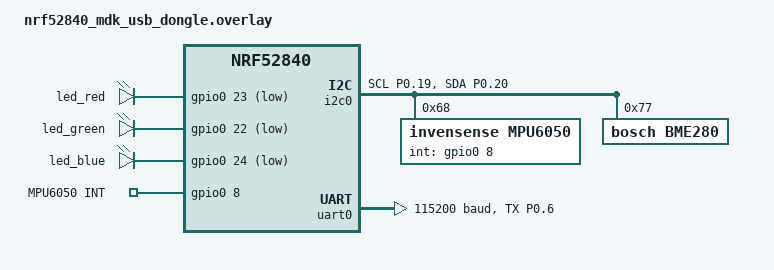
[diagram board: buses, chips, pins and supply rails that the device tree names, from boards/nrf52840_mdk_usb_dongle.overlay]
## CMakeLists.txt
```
# 1. This MUST be the first line
cmake_minimum_required(VERSION 3.20.0)

# 2. This loads the Zephyr engine. 
# HINTS $ENV{ZEPHYR_BASE} is the "safety net" for the terminal.
find_package(Zephyr REQUIRED HINTS $ENV{ZEPHYR_BASE})

# 3. This MUST come AFTER find_package
project(lima-node)

# 4. This MUST come AFTER find_package because Zephyr defines 'app'
target_sources(app PRIVATE 
    src/main.c
    src/fsm.c
    src/crypto.c
    src/ble.c
)
```

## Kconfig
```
# L.I.M.A. Firmware Configuration

source "Kconfig.zephyr"

config LIMA_MAIN_LOG_LEVEL
    int "LIMA main log level"
    default 3
    range 0 4

config LIMA_FSM_LOG_LEVEL
    int "LIMA FSM log level"
    default 3
    range 0 4

# config LIMA_LIGHT_SLEEP_HEARTBEAT_MS
#     int "Light sleep heartbeat interval (ms)"
#     default 10000

config LIMA_DEEP_SLEEP_INTERVAL_MS
    int "Deep sleep wakeup interval (ms)"
    default 45000

# config LIMA_INACTIVITY_TIMEOUT_MS
#     int "Inactivity timeout before deep sleep (ms)"
#     default 30000
#     help
#       Total time (in ms) the device remains idle (including Light Sleep intervals) 
#       before transitioning to Deep Sleep.
```

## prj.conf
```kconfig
# Core Kernel Features
CONFIG_GPIO=y

# Logging
CONFIG_SERIAL=y
CONFIG_UART_CONSOLE=y
CONFIG_PRINTK=y
CONFIG_LOG=y
CONFIG_LOG_DEFAULT_LEVEL=3
# Error     1   LOG_ERR
# Warning   2   LOG_ERR, LOG_WRN
# Info      3   LOG_ERR, LOG_WRN, LOG_INF
# Debug     4   LOG_ERR, LOG_WRN, LOG_INF, LOG_DBG
CONFIG_LOG_MODE_DEFERRED=y

# I2C
CONFIG_I2C=y
CONFIG_I2C_LOG_LEVEL_DBG=y

# Sensors
CONFIG_SENSOR=y
CONFIG_MPU6050=y
CONFIG_BME280=y
CONFIG_LIMA_BARO_THRESHOLD_PA=5
CONFIG_BME280_FILTER_OFF=y

# Stack protection / fault dumps
CONFIG_FAULT_DUMP=2
CONFIG_HW_STACK_PROTECTION=y
CONFIG_MPU_STACK_GUARD=y

# FPU for sqrt/math
CONFIG_FPU=y

# Heap and workqueue
CONFIG_HEAP_MEM_POOL_SIZE=8192
CONFIG_SYSTEM_WORKQUEUE_STACK_SIZE=8192
CONFIG_MAIN_STACK_SIZE=4096

# Power Management — PM_DEVICE only, CONFIG_PM not supported on this board
# CONFIG_PM=y
CONFIG_PM_DEVICE=y
CONFIG_LIMA_DEEP_SLEEP_INTERVAL_MS=6000

# Crypto — Oberon PSA driver (software, volatile keys for v1)
CONFIG_NRF_SECURITY=y
CONFIG_MBEDTLS_PSA_CRYPTO_C=y
CONFIG_MBEDTLS_ENABLE_HEAP=y
CONFIG_MBEDTLS_HEAP_SIZE=8192
# CONFIG_NRF_CC3XX_PLATFORM=y
CONFIG_PSA_CRYPTO_DRIVER_OBERON=y
CONFIG_PSA_WANT_GENERATE_RANDOM=y
CONFIG_PSA_WANT_ALG_CTR_DRBG=y
CONFIG_PSA_WANT_ALG_ECDSA=y
CONFIG_PSA_WANT_ALG_SHA_256=y
CONFIG_PSA_WANT_ECC_SECP_R1_256=y
CONFIG_PSA_WANT_KEY_TYPE_ECC_KEY_PAIR_GENERATE=y
CONFIG_PSA_WANT_KEY_TYPE_ECC_PUBLIC_KEY=y
# CONFIG_MBEDTLS_PSA_CRYPTO_KEY_ID_ENCODES_OWNER=n


# Bluetooth
CONFIG_BT=y
CONFIG_BT_PERIPHERAL=y
CONFIG_BT_DEVICE_NAME="LIMA_NODE_01"

# Persistent storage
CONFIG_SETTINGS=y
CONFIG_SETTINGS_NVS=y
CONFIG_NVS_LOOKUP_CACHE=y

CONFIG_FLASH=y
CONFIG_FLASH_MAP=y
CONFIG_NVS=y


# CONFIG_TRUSTED_STORAGE=y
# CONFIG_TRUSTED_STORAGE_BACKEND_FLASH=y
# CONFIG_TRUSTED_STORAGE_STORAGE_PREFIX="lima"
CONFIG_PSA_WANT_KEY_TYPE_ECC_KEY_PAIR_IMPORT=y
CONFIG_PSA_WANT_KEY_TYPE_ECC_KEY_PAIR_EXPORT=y


# PSA persistent key storage — backed by settings_storage via NVS
# CONFIG_MBEDTLS_PSA_CRYPTO_STORAGE_C=y
# CONFIG_PSA_ITS_FLASH=y

CONFIG_WATCHDOG=y
CONFIG_WDT_NRFX=y

CONFIG_SETTINGS_RUNTIME=y



# CONFIG_PSA_INTERNAL_TRUSTED_STORAGE=y
# CONFIG_TRUSTED_STORAGE_STORAGE_BACKEND_SETTINGS=y
# CONFIG_TRUSTED_STORAGE_BACKEND_AEAD=y
# CONFIG_TRUSTED_STORAGE_BACKEND_AEAD_KEY_HASH_UID=y

# used for storage backend for keys when on flash
# CONFIG_PSA_WANT_KEY_TYPE_CHACHA20=y
# CONFIG_PSA_WANT_ALG_CHACHA20_POLY1305=y

# CONFIG_PSA_CRYPTO_STORAGE_BACKEND_ITS=y


# PSA persistent key storage — Zephyr secure storage subsystem
CONFIG_SECURE_STORAGE=y

# CONFIG_TRUSTED_STORAGE=y          ← remove
# CONFIG_MBEDTLS_PSA_CRYPTO_STORAGE_C=y  ← remove (selected automatically)
# CONFIG_PSA_INTERNAL_TRUSTED_STORAGE=y  ← remove
# CONFIG_TRUSTED_STORAGE_BACKEND_AEAD=y  ← remove
# CONFIG_TRUSTED_STORAGE_BACKEND_AEAD_KEY_HASH_UID=y  ← remove
# CONFIG_TRUSTED_STORAGE_STORAGE_BACKEND_SETTINGS=y  ← remove
# CONFIG_PSA_WANT_KEY_TYPE_CHACHA20=y  ← remove
# CONFIG_PSA_WANT_ALG_CHACHA20_POLY1305=y  ← remove
```

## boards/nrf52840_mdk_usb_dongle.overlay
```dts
&i2c0 {
    status = "okay";
    pinctrl-0 = <&i2c0_default>;
    pinctrl-1 = <&i2c0_sleep>;
    pinctrl-names = "default","sleep";
    mpu6050@68 {
        compatible = "invensense,mpu6050";
        reg = <0x68>;
        int-gpios = <&gpio0 8 GPIO_ACTIVE_HIGH>;
    };
    bme280@77 {
        compatible = "bosch,bme280";
        reg = <0x77>;
    };
};

&pinctrl {
    i2c0_default: i2c0_default {
        group1 {
            psels = <NRF_PSEL(TWIM_SCL, 0, 19)>,
                    <NRF_PSEL(TWIM_SDA, 0, 20)>;
            bias-pull-up;        
        };
    };
    uart0_default: uart0_default {
        group1 {
            psels = <NRF_PSEL(UART_TX, 0, 6)>;
            bias-disable;
        };
    };
    uart0_sleep: uart0_sleep {
        group1 {
            psels = <NRF_PSEL(UART_TX, 0, 6)>;
            low-power-enable;
        };
    };
    i2c0_sleep: i2c0_sleep {
        group1 {
            psels = <NRF_PSEL(TWIM_SCL, 0, 19)>,
                    <NRF_PSEL(TWIM_SDA, 0, 20)>;
            low-power-enable;
        };
    };
};

&uart0 {
    status = "okay";
    current-speed = <115200>;
    pinctrl-0 = <&uart0_default>;
    pinctrl-1 = <&uart0_sleep>;
    pinctrl-names = "default", "sleep";
};


/ {
    leds {
        compatible = "gpio-leds";
        led_red: led_0 {
            gpios = <&gpio0 23 GPIO_ACTIVE_LOW>;
        };
        led_green: led_1 {
            gpios = <&gpio0 22 GPIO_ACTIVE_LOW>;
        };
        led_blue: led_2 {
            gpios = <&gpio0 24 GPIO_ACTIVE_LOW>;
        };
    };
    
    keys {
        compatible = "gpio-keys";
        mpu_int: mpu_int {
            gpios = <&gpio0 8 GPIO_ACTIVE_HIGH>;
            label = "MPU6050 INT";
        };
    };

    aliases {
        led0 = &led_red;
        led1 = &led_green;
        led2 = &led_blue;
        mpu-int = &mpu_int;    // ← add this
    };
};
```

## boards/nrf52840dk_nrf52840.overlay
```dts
&i2c0 {
    status = "okay";
    pinctrl-0 = <&i2c0_default>;
    pinctrl-1 = <&i2c0_sleep>;
    pinctrl-names = "default", "sleep";
    mpu6050@68 {
        compatible = "invensense,mpu6050";
        reg = <0x68>;
        int-gpios = <&gpio0 3 GPIO_ACTIVE_HIGH>;
    };
    bme280@77 {
        compatible = "bosch,bme280";
        reg = <0x77>;
    };
};

&pinctrl {
    i2c0_default: i2c0_default {
        group1 {
            psels = <NRF_PSEL(TWIM_SCL, 0, 4)>,
                    <NRF_PSEL(TWIM_SDA, 0, 5)>;
            bias-pull-up;
        };
    };
    i2c0_sleep: i2c0_sleep {
        group1 {
            psels = <NRF_PSEL(TWIM_SCL, 0, 4)>,
                    <NRF_PSEL(TWIM_SDA, 0, 5)>;
            low-power-enable;
        };
    };
    uart0_default: uart0_default {
        group1 {
            psels = <NRF_PSEL(UART_TX, 0, 6)>,
                    <NRF_PSEL(UART_RX, 0, 8)>;
            bias-disable;
        };
    };
    uart0_sleep: uart0_sleep {
        group1 {
            psels = <NRF_PSEL(UART_TX, 0, 6)>,
                    <NRF_PSEL(UART_RX, 0, 8)>;
            low-power-enable;
        };
    };
};

&uart0 {
    status = "okay";
    current-speed = <115200>;
    pinctrl-0 = <&uart0_default>;
    pinctrl-1 = <&uart0_sleep>;
    pinctrl-names = "default", "sleep";
};

/ {
    leds {
        compatible = "gpio-leds";
        led_red: led_0 {
            gpios = <&gpio0 13 GPIO_ACTIVE_LOW>;
        };
        led_green: led_1 {
            gpios = <&gpio0 14 GPIO_ACTIVE_LOW>;
        };
        led_blue: led_2 {
            gpios = <&gpio0 15 GPIO_ACTIVE_LOW>;
        };
    };
    keys {
        compatible = "gpio-keys";
        mpu_int: mpu_int {
            gpios = <&gpio0 3 GPIO_ACTIVE_HIGH>;
            label = "MPU6050 INT";
        };
    };
    aliases {
        led0 = &led_red;
        led1 = &led_green;
        led2 = &led_blue;
        mpu-int = &mpu_int;
    };
};
```

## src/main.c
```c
/*
 * ============================================================================
 * Project: L.I.M.A. (Local Integrity Multi-modal Architecture)
 * File:    main.c
 * Author:  Justin Knox
 * Date:    Feb 2026
 *
 * Description: 
 * Event-driven FSM for edge integrity monitoring. Uses a decoupled 
 * thread model to separate high-frequency sensor polling from 
 * cryptographic signing and BLE transmission states.
 *
 * Architecture:
 * ├── #includes & defines     (System & Zephyr RTOS config)
 * ├── Hardware Globals        (LEDs, MPU6050, Message Queues)
 * ├── HAL & Stubs             (I2C Recovery, IMU Read, Crypto/BLE stubs)
 * ├── FSM Engine              (State transitions & Entry/Exit logic)
 * ├── fsm_dispatch()          (Event-to-State routing)
 * ├── Thread Functions        (sensor_thread_fn, fsm_thread_fn)
 * ├── K_THREAD_DEFINE x2      (Static thread allocation)
 * └── main()                  (Hardware init & Thread resumption)
 * ============================================================================
 */

#include <zephyr/kernel.h>
#include <zephyr/kernel/thread.h>
#include <zephyr/drivers/gpio.h>
#include <zephyr/drivers/sensor.h>
#include <zephyr/logging/log.h>
#include <zephyr/drivers/watchdog.h>
#include <zephyr/bluetooth/bluetooth.h>
#include <zephyr/settings/settings.h>
#include "ble.h"
#include <math.h>
#include "events.h"
#include "fsm.h"
#include "crypto.h"

LOG_MODULE_REGISTER(lima_main, LOG_LEVEL_INF);

// #define I2C0_SCL_PIN 19
// #define I2C0_SDA_PIN 20
#define I2C0_SCL_PIN 04
#define I2C0_SDA_PIN 05

/* ── Board definitions ───────────────────────────────────────────────────── */

#define LED_R_NODE DT_ALIAS(led0)
#define LED_G_NODE DT_ALIAS(led1)
#define LED_B_NODE DT_ALIAS(led2)

/* ── Configuration ───────────────────────────────────────────────────────── */

#define FSM_MSGQ_DEPTH          16
#define FSM_THREAD_PRIORITY     5
#define SENSOR_THREAD_PRIORITY  6
#define POLL_INTERVAL_MS        60      /* 16.67 Hz — matches your working blinky */
#define COOLDOWN_MS_DEFAULT     5000    /* 5s default; tune per deployment         */
#define MOTION_THRESHOLD_G      0.80     /* 1.1 good for table top     */
#define FSM_STACK_SIZE          8192  // Double it again
#define SENSOR_STACK_SIZE       4096  // Double it again



/* ── Hardware globals ────────────────────────────────────────────────────── */

static const struct gpio_dt_spec led_r = GPIO_DT_SPEC_GET(LED_R_NODE, gpios);
static const struct gpio_dt_spec led_g = GPIO_DT_SPEC_GET(LED_G_NODE, gpios);
static const struct gpio_dt_spec led_b = GPIO_DT_SPEC_GET(LED_B_NODE, gpios);

/* motion sensor */
static const struct device *mpu;
static struct sensor_value accel[3];

/* baro sensor */
static const struct device *bme;
static struct sensor_value baro_press;
static float baro_baseline_hpa = 0.0f;

/* Sleep LED state */
static struct k_work_delayable sleep_led_work;
static uint8_t sleep_led_on = 0;
static uint32_t sleep_led_interval_ms = 0;
static uint8_t sleep_led_white = 0;  /* 1 = white pulse (deep), 0 = red+blue (light) */

/* RTC wakeup stub  */
static struct k_work_delayable rtc_wakeup_work;

/* I2C prototype */
static void hw_i2c_bus_recovery(void);

/* onboard watchdog disable */
const struct device *wdt = DEVICE_DT_GET(DT_NODELABEL(wdt0));


/* ── Message queue ───────────────────────────────────────────────────────── */

K_MSGQ_DEFINE(fsm_msgq, sizeof(lima_event_t), FSM_MSGQ_DEPTH, 4);

int lima_post_event(const lima_event_t *evt)
{
    return k_msgq_put(&fsm_msgq, evt, K_NO_WAIT);
}

/* Non-blocking timer for cooldown */
// static struct k_work_delayable cooldown_work; 

/* Non-blocking timer tx timeout */
// static struct k_work_delayable tx_timeout_work;

/* Threads */
static void sensor_thread_fn(void *p1, void *p2, void *p3);
static void fsm_thread_fn(void *p1, void *p2, void *p3);


/* ── Heartbeat timer (ARMED state blue pulse) ────────────────────────────── */

static void heartbeat_expiry_fn(struct k_timer *timer_id);
K_TIMER_DEFINE(heartbeat_timer, heartbeat_expiry_fn, NULL);

static void heartbeat_expiry_fn(struct k_timer *timer_id)
{
    ARG_UNUSED(timer_id);
    static uint8_t tick = 0;

    /* Double-blink pattern: on at tick 0 and 2, off otherwise.
     * Period = 20 ticks × 100 ms = 2 seconds. */
    bool led_on = (tick == 0 || tick == 2);
    gpio_pin_set_dt(&led_b, led_on ? 1 : 0);
    tick = (tick + 1) % 20;
}

/* ── Sleep LED timer ─────────────────────────────────────────────────────── */

static void sleep_led_expiry_fn(struct k_work *work)
{
    sleep_led_on = !sleep_led_on;
    gpio_pin_set_dt(&led_r, sleep_led_on ? 1 : 0);
    gpio_pin_set_dt(&led_g, (sleep_led_on && sleep_led_white) ? 1 : 0);
    gpio_pin_set_dt(&led_b, sleep_led_on ? 1 : 0);

    /* Reschedule only if interval is still set */
    if (sleep_led_interval_ms > 0) {
        k_work_reschedule(&sleep_led_work, K_MSEC(sleep_led_interval_ms));
    }
}

static void rtc_wakeup_expiry_fn(struct k_work *work)
{
    ARG_UNUSED(work);
    LOG_INF("[RTC] wakeup timer fired — posting LIMA_EVT_RTC_WAKEUP");
    lima_event_t e = {
        .type         = LIMA_EVT_RTC_WAKEUP,
        .timestamp_ms = k_uptime_get_32(),
    };
    lima_post_event(&e);
}

/* ── Hardware Abstraction Layer ──────────────────────────────────────────── */

static int hw_init_sensors(void)
{
    mpu = DEVICE_DT_GET_ANY(invensense_mpu6050);

    if (mpu == NULL) {
        LOG_ERR("MPU6050 device not found in devicetree!");
        return -ENODEV;
    }
    if (!device_is_ready(mpu)) {
        LOG_ERR("MPU6050 not ready!");
        return -ENODEV;
    }
    LOG_INF("MPU6050 ready");

    bme = DEVICE_DT_GET_ANY(bosch_bme280);

    if (bme == NULL) {
        LOG_ERR("BME280 device not found in devicetree!");
        return -ENODEV;
    }
    if (!device_is_ready(bme)) {
        LOG_ERR("BME280 not ready!");
        return -ENODEV;
    }
    LOG_INF("BME280 ready");
    return 0;
}

static double hw_read_imu(void)
{
    int ret = sensor_sample_fetch(mpu);
    if (ret < 0) {
        // LOG_WRN("MPU6050: fetch failed (%d)", ret);
        LOG_WRN("MPU6050: fetch failed (%d), attempting bus recovery", ret);
        hw_i2c_bus_recovery();
        k_msleep(10);
        ret = sensor_sample_fetch(mpu);
        if (ret < 0) {
            LOG_ERR("MPU6050: fetch failed after recovery (%d)", ret);
            return -1.0;
        }
        LOG_INF("MPU6050: recovered successfully");
    }
    
    sensor_channel_get(mpu, SENSOR_CHAN_ACCEL_XYZ, accel);

    double ax = sensor_value_to_double(&accel[0]);
    double ay = sensor_value_to_double(&accel[1]);
    double az = sensor_value_to_double(&accel[2]);

    double mag_ms2   = sqrt(ax * ax + ay * ay + az * az);
    double current_g = mag_ms2 / 9.80665;
    double motion_g  = fabs(current_g - 1.0);

    LOG_DBG("Raw: %.2f m/s2 | Motion: %.2f G", mag_ms2, motion_g);
    return motion_g;
}

static float hw_read_baro(void)
{
    int ret = sensor_sample_fetch(bme);
    if (ret < 0) {
        LOG_WRN("BME280: fetch failed (%d), attempting bus recovery", ret);
        hw_i2c_bus_recovery();
        k_msleep(10);
        ret = sensor_sample_fetch(bme);
        if (ret < 0) {
            LOG_ERR("BME280: fetch failed after recovery (%d)", ret);
            return 0.0f;
        }
        LOG_INF("BME280: recovered successfully");
    }

    sensor_channel_get(bme, SENSOR_CHAN_PRESS, &baro_press);
    float abs_hpa = (float)sensor_value_to_double(&baro_press);
    
    /* First reading sets the baseline */
    if (baro_baseline_hpa == 0.0f) {
        baro_baseline_hpa = abs_hpa;
        LOG_INF("BARO: baseline set to %.2f hPa", (double)abs_hpa);
        return 0.0f;
    }

    /* Compute delta BEFORE updating baseline */
    float delta_pa = (abs_hpa - baro_baseline_hpa) * 100.0f;
    LOG_DBG("BARO: %.2f hPa | delta %.2f Pa", (double)abs_hpa, (double)delta_pa);

    /* Now walk baseline toward current reading to absorb slow drift */
    baro_baseline_hpa += (abs_hpa - baro_baseline_hpa) * 0.01f;

    return delta_pa;
}

static void hw_i2c_bus_recovery(void)
{
    LOG_INF("BOOT: I2C bus recovery on P0.%d/P0.%d", I2C0_SCL_PIN, I2C0_SDA_PIN);

    const struct device *gpio0_dev = DEVICE_DT_GET(DT_NODELABEL(gpio0));
    if (!device_is_ready(gpio0_dev)) {
        LOG_ERR("GPIO0 device not ready for recovery");
        return;
    }

    gpio_pin_configure(gpio0_dev, I2C0_SCL_PIN, GPIO_OUTPUT_HIGH);
    gpio_pin_configure(gpio0_dev, I2C0_SDA_PIN, GPIO_INPUT);

    for (int i = 0; i < 9; i++) {
        gpio_pin_set_raw(gpio0_dev, I2C0_SCL_PIN, 1);
        k_busy_wait(5);
        gpio_pin_set_raw(gpio0_dev, I2C0_SCL_PIN, 0);
        k_busy_wait(5);
    }
    gpio_pin_set_raw(gpio0_dev, I2C0_SCL_PIN, 1);

    gpio_pin_configure(gpio0_dev, I2C0_SCL_PIN, GPIO_DISCONNECTED);
    gpio_pin_configure(gpio0_dev, I2C0_SDA_PIN, GPIO_DISCONNECTED);

    LOG_INF("BOOT: I2C recovery complete");
}


/* ── HAL Stubs (swap in real implementations one at a time) ──────────────── */

static int hw_calibrate(void)
{
    LOG_INF("[STUB] calibrate");
    return 0;
}

static int hw_enable_irqs(void)
{
    LOG_INF("[STUB] enable_sensor_irqs");
    return 0;
}

static int hw_enter_light_sleep(void)
{
    LOG_INF("[SLEEP] light sleep active — waiting for sensor IRQ or inactivity timeout");
    // TODO: real PM_STATE_SUSPEND_TO_IDLE goes here
    // Duration is now owned by inactivity_work timer in fsm.c
    return 0;
}

static int hw_enter_deep_sleep(void)
{
    LOG_INF("[SLEEP] deep sleep active — waiting for RTC wakeup event");
    // TODO: real PM_STATE_SOFT_OFF goes here
    // Duration owned by RTC wakeup timer (future) or manual wakeup event
    return 0;
}

static int hw_sign_event(lima_event_t *e)
{
    LOG_INF("[STUB] sign_event type=0x%02X", e->type);
    return 0;
}

static int hw_ble_advertise(lima_event_t *e)
{
    LOG_INF("[STUB] ble_advertise type=0x%02X", e->type);
    return 0;
}

static int hw_ble_stop(void)
{
    LOG_INF("[STUB] ble_stop");
    return 0;
}

static void hw_assert_fault_led(void)
{
    LOG_INF("[STUB] assert_fault_led");
}

static int hw_try_recover(void)
{
    LOG_INF("[STUB] try_recover");
    return 0;
}

static void hw_watchdog_reset(void)
{
    LOG_INF("[STUB] watchdog_reset");
}

static void hw_notify_low_battery(void)
{
    LOG_INF("[STUB] notify_low_battery");
}

/* Suppress "defined but not used" warnings for stubs not yet wired */
static void __attribute__((unused)) suppress_stub_warnings(void)
{
    (void)hw_calibrate;
    (void)hw_enable_irqs;
    (void)hw_sign_event;
    (void)hw_ble_advertise;
    (void)hw_ble_stop;
    (void)hw_assert_fault_led;
    (void)hw_try_recover;
    (void)hw_watchdog_reset;
    (void)hw_notify_low_battery;
}

/* ── fsm_hw_* Trampolines (called by fsm.c) ──────────────────────────────── */

void fsm_hw_enter_sleep(void)
{
    hw_enter_light_sleep();
}

void fsm_hw_enter_deep_sleep(void)
{
    hw_enter_deep_sleep();
    hw_ble_stop();
     /* Stub RTC wakeup — real PM_STATE_SOFT_OFF replaces this in v2 */
    k_work_reschedule(&rtc_wakeup_work, 
    K_MSEC(CONFIG_LIMA_DEEP_SLEEP_INTERVAL_MS));
}

/**
 * @brief Physical hardware response to FSM state changes.
 *        Called by fsm.c during every transition.
 */
void fsm_hw_set_led(lima_state_t state)
{
    /* Stop the heartbeat before changing LEDs; restart it only for ARMED */
    k_timer_stop(&heartbeat_timer);
    k_work_cancel_delayable(&sleep_led_work);
    sleep_led_interval_ms = 0;
    
    gpio_pin_set_dt(&led_r, 0);
    gpio_pin_set_dt(&led_g, 0);
    gpio_pin_set_dt(&led_b, 0);

    switch (state) {
    case STATE_BOOT:
    case STATE_CALIBRATING:
        /* White (R+G+B) during init */
        gpio_pin_set_dt(&led_r, 1);
        gpio_pin_set_dt(&led_g, 1);
        gpio_pin_set_dt(&led_b, 1);
        break;

    case STATE_ARMED:
        /* Blue double-blink heartbeat */
        k_timer_start(&heartbeat_timer, K_MSEC(100), K_MSEC(100));
        break;

    case STATE_EVENT_DETECTED:
    case STATE_SIGNING:
    case STATE_TRANSMITTING:
        /* Solid Red during active alert pipeline */
        gpio_pin_set_dt(&led_r, 1);
        break;

    case STATE_COOLDOWN:
        /* Yellow (R+G) during suppression window */
        gpio_pin_set_dt(&led_r, 1);
        gpio_pin_set_dt(&led_g, 1);
        break;

    case STATE_FAULT:
        /* Solid Red + log */
        gpio_pin_set_dt(&led_r, 1);
        LOG_ERR("HARDWARE: Fault LED asserted");
        break;

    case STATE_LOW_BATTERY:
        /* Dim amber: just Red at low duty — use solid for simplicity now */
        gpio_pin_set_dt(&led_r, 1);
        break;

    case STATE_LIGHT_SLEEP:
        sleep_led_white = 0;
        sleep_led_interval_ms = 2000;
        k_work_reschedule(&sleep_led_work, K_MSEC(sleep_led_interval_ms));
        break;

    case STATE_DEEP_SLEEP:
        /* Slow white ghost-pulse — all three channels, 4s interval */
        sleep_led_white = 1;
        gpio_pin_set_dt(&led_r, 1);
        gpio_pin_set_dt(&led_g, 1);
        gpio_pin_set_dt(&led_b, 1);
        sleep_led_interval_ms = 4000;
        k_work_reschedule(&sleep_led_work, K_MSEC(sleep_led_interval_ms));
        break;

    default:
        /* Dark for sleep states */
        break;
    }
}

/* ── Sensor Thread ───────────────────────────────────────────────────────── */

static void sensor_thread_fn(void *p1, void *p2, void *p3)
{
    ARG_UNUSED(p1); ARG_UNUSED(p2); ARG_UNUSED(p3);
    LOG_INF("Sensor thread started... sleeping 500ms for FSM boot & calibration...");

    /* Wait for FSM to finish BOOT + CALIBRATING */
    k_sleep(K_MSEC(500));

    LOG_INF("Sensor thread: 500ms expired...");
    
    while (1) {
    lima_state_t s = fsm_get_state();
    if (s == STATE_ARMED || s == STATE_LIGHT_SLEEP) {
        bool event_fired = false;

        double magnitude = hw_read_imu();
        if (magnitude >= 0.0 && magnitude > MOTION_THRESHOLD_G) {
            LOG_INF("MOTION: %.2f g (threshold=%.2f)", magnitude, MOTION_THRESHOLD_G);
            lima_event_t e = {
                .type             = LIMA_EVT_MOTION_DETECTED,
                .timestamp_ms     = k_uptime_get_32(),
                .data.imu.accel_g = (float)magnitude,
            };
            lima_post_event(&e);
            event_fired = true;
        }
        float delta_pa = hw_read_baro();
        if (fabsf(delta_pa) > CONFIG_LIMA_BARO_THRESHOLD_PA) {
            LOG_INF("BARO: delta=%.2f Pa (threshold=%d)", (double)delta_pa, CONFIG_LIMA_BARO_THRESHOLD_PA);
            lima_event_t e = {
                .type               = LIMA_EVT_PRESSURE_BREACH,
                .timestamp_ms       = k_uptime_get_32(),
                .data.baro.delta_pa = delta_pa,
            };
            lima_post_event(&e);
            event_fired = true;
        }

        if (!event_fired) {
            lima_event_t tick = {
                .type         = LIMA_EVT_POLL_TICK,
                .timestamp_ms = k_uptime_get_32(),
            };
            lima_post_event(&tick);
        }
    }
    k_msleep(POLL_INTERVAL_MS);
}
}



/* ── FSM thread ──────────────────────────────────────────────────────────── */

static void fsm_thread_fn(void *p1, void *p2, void *p3)
{
    ARG_UNUSED(p1); ARG_UNUSED(p2); ARG_UNUSED(p3);
    LOG_INF("FSM thread started");

    fsm_init();

    lima_event_t msg;
    while (1) {
        if (k_msgq_get(&fsm_msgq, &msg, K_FOREVER) == 0) {
            fsm_dispatch(&msg);
        }
    }
}

K_THREAD_DEFINE(fsm_thread, FSM_STACK_SIZE,
                fsm_thread_fn, NULL, NULL, NULL,
                FSM_THREAD_PRIORITY, 0, 0);

K_THREAD_DEFINE(sensor_thread, SENSOR_STACK_SIZE,
                sensor_thread_fn, NULL, NULL, NULL,
                SENSOR_THREAD_PRIORITY, 0, 0);
                
/* ── main ────────────────────────────────────────────────────────────────── */

int main(void)
{
    LOG_INF("L.I.M.A. node firmware starting");
    LOG_INF("L.I.M.A.: suspending threads...");

    wdt_disable(wdt);
    k_thread_suspend(fsm_thread);
    k_thread_suspend(sensor_thread);
    
    gpio_pin_configure_dt(&led_r, GPIO_OUTPUT_INACTIVE);
    gpio_pin_configure_dt(&led_g, GPIO_OUTPUT_INACTIVE);
    gpio_pin_configure_dt(&led_b, GPIO_OUTPUT_INACTIVE);

    hw_i2c_bus_recovery();
    k_msleep(50); 
    if (hw_init_sensors() != 0) {
        LOG_ERR("Sensor init failed!");
        // post SENSOR_FAULT event or spin
    }
    
    for (int i = 0; i < 6; i++) {
        LOG_INF("USB settle: %d/6 - start sleep", i + 1);
        k_msleep(1000);
        LOG_INF("USB settle: %d/6 - done", i + 1);
    }

    settings_load();
    
    if (lima_crypto_init() != 0) {
        LOG_ERR("Crypto init failed — signing unavailable");
    }
    
    bt_enable(NULL);
    if (lima_ble_init() != 0) {
        LOG_ERR("BLE init failed — transmitting unavailable");
    }


    k_work_init_delayable(&sleep_led_work, sleep_led_expiry_fn);
    k_work_init_delayable(&rtc_wakeup_work, rtc_wakeup_expiry_fn);


    LOG_INF("Starting LIMA threads...");
    k_thread_resume(fsm_thread);
    k_thread_resume(sensor_thread);

    return 0;
}
```

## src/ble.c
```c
/*
 * L.I.M.A. — Local Integrity Multi-modal Architecture
 * ble.c — BLE non-connectable advertising of signed lima_payload_t
 *
 * Encodes lima_payload_t into manufacturer-specific AD data and
 * advertises as ADV_NONCONN_IND for CONFIG_LIMA_BLE_ADV_DURATION_MS.
 * Completion callback posts LIMA_EVT_TX_COMPLETE or LIMA_EVT_BLE_FAULT
 * to the FSM queue via fsm.c.
 *
 * Call order (from main.c and fsm.c):
 *   1. lima_ble_init()        — once, after bt_enable() in main.c
 *   2. lima_ble_advertise()   — called from state_transmitting_enter()
 */

#include <zephyr/kernel.h>
#include <zephyr/logging/log.h>
#include <zephyr/bluetooth/bluetooth.h>
#include <zephyr/bluetooth/hci.h>
#include <string.h>
#include "ble.h"
#include "crypto.h"

LOG_MODULE_REGISTER(lima_ble, CONFIG_LIMA_BLE_LOG_LEVEL);

/* ── Private state ───────────────────────────────────────────────────────── */

static bool                ble_initialized = false;
static lima_ble_cb_t       adv_cb          = NULL;
static struct k_work_delayable adv_stop_work;

/* ── AD buffers ─────────────────────────────────────────────────────── */

/* Manufacturer-specific data buffer — populated per-advertisement */
static lima_adv_payload_t  adv_payload_buf;

static struct bt_data adv_data[] = {
    /* Flags: LE General Discoverable, BR/EDR not supported */
    BT_DATA_BYTES(BT_DATA_FLAGS,
                  BT_LE_AD_GENERAL | BT_LE_AD_NO_BREDR),
    /* Manufacturer specific — points into adv_payload_buf */
    BT_DATA(BT_DATA_MANUFACTURER_DATA,
            &adv_payload_buf,
            sizeof(lima_adv_payload_t)),
};

/* Scan response carries the device name */
static const struct bt_data sd[] = {
    BT_DATA(BT_DATA_NAME_COMPLETE,
            CONFIG_BT_DEVICE_NAME,
            sizeof(CONFIG_BT_DEVICE_NAME) - 1),
};

/* ── Advertisement stop work ─────────────────────────────────────────────── */

static void adv_stop_fn(struct k_work *work)
{
    ARG_UNUSED(work);

    int err = bt_le_adv_stop();
    if (err) {
        LOG_ERR("BLE: adv stop failed (%d)", err);
        if (adv_cb) {
            adv_cb(LIMA_BLE_FAIL);
            adv_cb = NULL;
        }
        return;
    }

    LOG_INF("BLE: advertisement complete");
    if (adv_cb) {
        adv_cb(LIMA_BLE_OK);
        adv_cb = NULL;
    }
}

/* ── Public API ──────────────────────────────────────────────────────────── */

int lima_ble_init(void)
{
    if (ble_initialized) {
        LOG_WRN("BLE: already initialized");
        return 0;
    }

    k_work_init_delayable(&adv_stop_work, adv_stop_fn);

    ble_initialized = true;
    LOG_INF("BLE: initialized — LIMA_NODE_01 ready to advertise");
    return 0;
}

int lima_ble_advertise(const lima_payload_t *payload, lima_ble_cb_t cb)
{
    if (!ble_initialized) {
        LOG_ERR("BLE: not initialized — call lima_ble_init() first");
        return -ECANCELED;
    }

    if (payload == NULL || cb == NULL) {
        LOG_ERR("BLE: NULL parameter");
        return -EINVAL;
    }

    /* Encode lima_payload_t → lima_adv_payload_t */
    memset(&adv_payload_buf, 0, sizeof(adv_payload_buf));
    adv_payload_buf.company_id    = 0xFFFF;
    adv_payload_buf.proto_version = 0x01;
    adv_payload_buf.event_type    = payload->event_type;
    adv_payload_buf.sequence      = payload->sequence;
    adv_payload_buf.timestamp_ms  = payload->timestamp_ms;
    adv_payload_buf.accel_g       = payload->accel_g;
    adv_payload_buf.delta_pa      = payload->delta_pa;
    memcpy(adv_payload_buf.node_id, payload->node_id,
           sizeof(adv_payload_buf.node_id));

    LOG_INF("BLE: advertising — node=%02X:%02X:%02X:%02X:%02X:%02X "
            "evt=0x%02X seq=%u",
            adv_payload_buf.node_id[0], adv_payload_buf.node_id[1],
            adv_payload_buf.node_id[2], adv_payload_buf.node_id[3],
            adv_payload_buf.node_id[4], adv_payload_buf.node_id[5],
            adv_payload_buf.event_type,
            adv_payload_buf.sequence,
            (double)adv_payload_buf.accel_g,
            (double)adv_payload_buf.delta_pa);

    /* Store callback before starting adv */
    adv_cb = cb;

    /* Non-connectable undirected advertisement */
    int err = bt_le_adv_start(
        BT_LE_ADV_PARAM(
            BT_LE_ADV_OPT_USE_IDENTITY,   /* use static identity address  */
            BT_GAP_ADV_FAST_INT_MIN_2,    /* 100ms min interval           */
            BT_GAP_ADV_FAST_INT_MAX_2,    /* 150ms max interval           */
            NULL                          /* non-connectable — no peer    */
        ),
        adv_data, ARRAY_SIZE(adv_data),
        sd,       ARRAY_SIZE(sd)
    );

    if (err) {
        LOG_ERR("BLE: adv start failed (%d)", err);
        adv_cb = NULL;
        return err;
    }

    LOG_INF("BLE: advertising for %d ms", CONFIG_LIMA_BLE_ADV_DURATION_MS);

    /* Schedule advertisement stop */
    k_work_reschedule(&adv_stop_work,
                      K_MSEC(CONFIG_LIMA_BLE_ADV_DURATION_MS));

    return 0;
}
```

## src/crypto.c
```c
/*
 * L.I.M.A. — Local Integrity Multi-modal Architecture
 * crypto.c — PSA ECDSA-P256 / SHA-256 signing module
 *
 * Key storage : Nordic KMU via persistent PSA key slot
 * Algorithm   : ECDSA over NIST P-256 with SHA-256
 * Payload     : lima_payload_t (24 bytes), signed in full
 *
 * Call order (from main.c and fsm.c):
 *   1. lima_crypto_init()            — once, before fsm_init()
 *   2. lima_crypto_build_payload()   — populate from fsm.last_event
 *   3. lima_crypto_sign_async()      — sign, cb posts SIGNING_COMPLETE
 */

#include <zephyr/kernel.h>
#include <zephyr/logging/log.h>
// #include <zephyr/bluetooth/bluetooth.h>
#include <psa/crypto.h>
#include <string.h>
#include "crypto.h"
#include "events.h"

LOG_MODULE_REGISTER(lima_crypto, CONFIG_LIMA_CRYPTO_LOG_LEVEL);

/* ── Private state ───────────────────────────────────────────────────────── */

/* Monotonic sequence counter — incremented on every signed event.
 * TODO(v2): persist to flash via NVS so counter survives power cycles. */
static uint32_t sequence_counter = 0;

/* PSA key handle — opened once in lima_crypto_init(), reused for all signs */
static psa_key_id_t signing_key_id = PSA_KEY_ID_NULL;

/* ── Internal helpers ────────────────────────────────────────────────────── */

/**
 * @brief Generate and persist a P-256 keypair into KMU slot.
 *
 * Called only when no persistent key exists at CONFIG_LIMA_CRYPTO_KEY_ID.
 * In production, replace with factory provisioning via nrfutil KMU push.
 *
 * @return PSA_SUCCESS on success, PSA error code on failure.
 */
static psa_status_t provision_key(psa_key_id_t *out_key_id)
{
    psa_key_attributes_t attr = PSA_KEY_ATTRIBUTES_INIT;

    // psa_set_key_lifetime(&attr, PSA_KEY_LIFETIME_VOLATILE);
    psa_set_key_lifetime(&attr, PSA_KEY_LIFETIME_PERSISTENT);
    psa_set_key_id(&attr, CONFIG_LIMA_CRYPTO_KEY_ID); // persistent only

    psa_set_key_type(&attr,
        PSA_KEY_TYPE_ECC_KEY_PAIR(PSA_ECC_FAMILY_SECP_R1));
    psa_set_key_bits(&attr, 256);
    psa_set_key_algorithm(&attr,
        PSA_ALG_ECDSA(PSA_ALG_SHA_256));
    psa_set_key_usage_flags(&attr,
        PSA_KEY_USAGE_SIGN_MESSAGE | PSA_KEY_USAGE_EXPORT);

    // psa_key_id_t key_id; // unused in new persistent code
    // psa_status_t status = psa_generate_key(&attr, &key_id);
    psa_status_t status = psa_generate_key(&attr, out_key_id);

    psa_reset_key_attributes(&attr);

    if (status != PSA_SUCCESS) {
        LOG_ERR("CRYPTO: key generation failed (%d)", status);
        return status;
    }

    // LOG_INF("CRYPTO: P-256 keypair generated and stored in KMU slot 0x%08X",
    //         CONFIG_LIMA_CRYPTO_KEY_ID);
    // LOG_INF("CRYPTO: P-256 keypair generated (volatile, id=0x%08X)", *out_key_id);
    LOG_INF("CRYPTO: P-256 keypair generated (persistent, id=0x%08X)", *out_key_id);
    return PSA_SUCCESS;
}

/**
 * @brief Export and log the public key bytes for gateway registration.
 *
 * Logs 65 bytes (uncompressed point: 0x04 || X || Y) at INF level.
 * In production, write to flash or transmit via provisioning channel.
 *
 * @param key_id  PSA key ID of the persistent signing key.
 */
static void log_public_key(psa_key_id_t key_id)
{
    uint8_t  pub[65];   /* uncompressed P-256 point: 0x04 || X[32] || Y[32] */
    size_t   pub_len;

    psa_status_t status = psa_export_public_key(key_id, pub, sizeof(pub),
                                                &pub_len);
    if (status != PSA_SUCCESS) {
        LOG_ERR("CRYPTO: public key export failed (%d)", status);
        return;
    }

    LOG_INF("CRYPTO: public key (%u bytes):", pub_len);
    LOG_HEXDUMP_INF(pub, pub_len, "  pubkey:");
}

/* ── Public API ──────────────────────────────────────────────────────────── */

int lima_crypto_init(void)
{
    psa_status_t status;

    status = psa_crypto_init();
    if (status != PSA_SUCCESS) {
        LOG_ERR("CRYPTO: psa_crypto_init failed (%d)", status);
        return -EIO;
    }

    /* Check if persistent key already exists */
    psa_key_attributes_t attr = PSA_KEY_ATTRIBUTES_INIT;
    status = psa_get_key_attributes(CONFIG_LIMA_CRYPTO_KEY_ID, &attr);
    psa_reset_key_attributes(&attr);

    if (status == PSA_SUCCESS) {
        /* Key exists — load it */
        LOG_INF("CRYPTO: existing key found at slot 0x%08X",
                CONFIG_LIMA_CRYPTO_KEY_ID);
        signing_key_id = CONFIG_LIMA_CRYPTO_KEY_ID;
    } else if (status == PSA_ERROR_INVALID_HANDLE ||
               status == PSA_ERROR_DOES_NOT_EXIST) {
        /* First boot — generate and persist */
        LOG_INF("CRYPTO: no key at slot 0x%08X — provisioning",
                CONFIG_LIMA_CRYPTO_KEY_ID);
        status = provision_key(&signing_key_id);
        if (status != PSA_SUCCESS) {
            LOG_ERR("CRYPTO: provision_key failed (%d)", status);
            return -EIO;
        }
    } else {
        LOG_ERR("CRYPTO: key attribute query failed (%d)", status);
        return -EIO;
    }

    log_public_key(signing_key_id);
    LOG_INF("CRYPTO: initialized — ECDSA-P256/SHA-256 ready (key_id=0x%08X)",
            signing_key_id);
    return 0;
}

void lima_crypto_build_payload(lima_payload_t *payload,
                               const lima_event_t *evt)
{
    __ASSERT_NO_MSG(payload != NULL);
    __ASSERT_NO_MSG(evt != NULL);

    memset(payload, 0, sizeof(*payload));

    /* node_id — pull BLE MAC from controller FICR */
    // bt_addr_le_t addr;
    // size_t count = 1;
    // bt_id_get(&addr, &count);
    // memcpy(payload->node_id, addr.a.val, sizeof(payload->node_id));

    /* TODO(v2): replace with bt_id_get() when BLE stack is enabled */
    static const uint8_t dev_node_id[6] = { 0xDE, 0xAD, 0xBE, 0xEF, 0x00, 0x01 };
    memcpy(payload->node_id, dev_node_id, sizeof(payload->node_id));

    /* Monotonic sequence counter — anti-replay */
    payload->sequence     = ++sequence_counter;

    /* Event metadata */
    payload->timestamp_ms = evt->timestamp_ms;
    payload->event_type   = (uint8_t)evt->type;

    /* Sensor data — copy from whichever union arm is relevant.
     * For non-sensor events, these will be zero from the memset above. */
    switch (evt->type) {
    case LIMA_EVT_MOTION_DETECTED:
    case LIMA_EVT_DUAL_BREACH:
        payload->accel_g  = evt->data.imu.accel_g;
        break;

    case LIMA_EVT_PRESSURE_BREACH:
        payload->delta_pa = evt->data.baro.delta_pa;
        break;

    case LIMA_EVT_TAMPER_DETECTED:
        /* Tamper has no sensor data — accel_g and delta_pa stay zero */
        break;

    default:
        break;
    }

    /* reserved[2] stays zero from memset */

    LOG_DBG("CRYPTO: payload built — node=%02X:%02X:%02X:%02X:%02X:%02X "
            "seq=%u evt=0x%02X accel=%.2f delta_pa=%.2f",
            payload->node_id[0], payload->node_id[1], payload->node_id[2],
            payload->node_id[3], payload->node_id[4], payload->node_id[5],
            payload->sequence,
            payload->event_type,
            (double)payload->accel_g,
            (double)payload->delta_pa);
}

int lima_crypto_sign_async(const lima_payload_t *payload,
                           lima_sign_cb_t cb)
{
    if (payload == NULL || cb == NULL) {
        LOG_ERR("CRYPTO: NULL parameter");
        return -EINVAL;
    }

    if (signing_key_id == PSA_KEY_ID_NULL) {
        LOG_ERR("CRYPTO: not initialized — call lima_crypto_init() first");
        return -ECANCELED;
    }

    lima_sig_result_t result = { 0 };

    /* Sign the full 24-byte payload struct.
     * psa_sign_message() hashes internally with SHA-256 before signing. */
    result.err = (int)psa_sign_message(
        signing_key_id,
        PSA_ALG_ECDSA(PSA_ALG_SHA_256),
        (const uint8_t *)payload,
        sizeof(lima_payload_t),
        result.sig,
        sizeof(result.sig),
        &result.sig_len
    );

    if (result.err != PSA_SUCCESS) {
        LOG_ERR("CRYPTO: psa_sign_message failed (%d)", result.err);
    } else {
        LOG_INF("CRYPTO: signed %u bytes — sig[0..3]=%02X%02X%02X%02X",
                result.sig_len,
                result.sig[0], result.sig[1],
                result.sig[2], result.sig[3]);
    }

    /* Invoke callback — cb() posts event to FSM queue */
    cb(&result);

    return 0;
}
```

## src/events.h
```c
/*
 * L.I.M.A. — Local Integrity Multi-modal Architecture
 * events.h — Event types and payload struct
 *
 * All inter-thread communication flows through lima_event.
 * ISRs and sensor threads post to the FSM message queue;
 * the FSM thread consumes and transitions state.
 */

#ifndef LIMA_EVENTS_H
#define LIMA_EVENTS_H

#include <stdint.h>

#ifdef __cplusplus
extern "C" {
#endif

/* ── Event types ──────────────────────────────────────────────────────────── */

typedef enum {
    /* ── Sensor Triggers (0x01 - 0x07) ───────────────────────────────────── */
    LIMA_EVT_PRESSURE_BREACH    = 0x01,  /* BMP280: pressure delta > threshold  */
    LIMA_EVT_MOTION_DETECTED    = 0x02,  /* MPU6050: acceleration > threshold   */
    LIMA_EVT_DUAL_BREACH        = 0x03,  /* Both sensors triggered              */
    LIMA_EVT_SENSOR_TRIGGER     = 0x04,  /* General/Generic sensor trigger      */
    LIMA_EVT_TAMPER_DETECTED    = 0x05,  /* Case open / voltage spike           */
    LIMA_EVT_WAKEUP             = 0x06,  /* General wakeup (RTC or GPIO)        */
    LIMA_EVT_RTC_WAKEUP         = 0x07,  /* RTC only woke from deep sleep       */

    /* ── Node Health & Battery (0x08 - 0x0F) ─────────────────────────────── */
    LIMA_EVT_LOW_BATTERY        = 0x08,  /* Vbat < low threshold                */
    LIMA_EVT_CRITICAL_BATTERY   = 0x09,  /* Vbat < critical threshold -> shutdown*/
    LIMA_EVT_BATTERY_RESTORED   = 0x0A,  /* Vbat recovered                      */
    LIMA_EVT_INIT_COMPLETED     = 0x0B,  /* Node init completed                 */


    /* ── Lifecycle & Timing (0x10 - 0x1F) ────────────────────────────────── */
    LIMA_EVT_INIT_COMPLETE      = 0x10,  /* Boot init done, watchdog armed      */
    LIMA_EVT_BASELINE_READY     = 0x11,  /* Calibration complete                */
    LIMA_EVT_POLL_TICK          = 0x12,  /* Poll interval elapsed (no event)    */
    LIMA_EVT_GOTO_SLEEP         = 0x13,  /* Manual trigger for Light Sleep      */
    LIMA_EVT_GOTO_DEEP_SLEEP    = 0x14,  /* Manual trigger for System OFF       */
    LIMA_EVT_SLEEP_TIMER_EXPIRY = 0x15,  /* Inactivity -> deep sleep            */
    LIMA_EVT_COOLDOWN_EXPIRED   = 0x16,  /* Cooldown timer done -> rearm        */
    LIMA_EVT_TIMEOUT            = 0x17,  /* General purpose FSM timeout         */

    /* ── BLE Broker & Signing (0x20 - 0x2F) ──────────────────────────────── */
    LIMA_EVT_SIGNING_COMPLETE   = 0x20,  /* Payload signed and ready            */
    LIMA_EVT_TX_COMPLETE        = 0x21,  /* BLE advertisement confirmed         */
    LIMA_EVT_TX_TIMEOUT         = 0x22,  /* TX did not confirm in time          */
    LIMA_EVT_TX_FAILED          = 0x23,  /* Advertisement failed (max retries)  */

    /* ── Faults & Recovery (0x30 - 0x3F) ─────────────────────────────────── */
    LIMA_EVT_SENSOR_FAULT       = 0x30,  /* I2C error / sensor dropout          */
    LIMA_EVT_BLE_FAULT          = 0x31,  /* BLE TX failed (max retries)         */
    LIMA_EVT_RECOVERY_SUCCESS   = 0x32,  /* Fault recovery succeeded            */
    LIMA_EVT_RECOVERY_FAILED    = 0x33,  /* Unrecoverable -> watchdog reset     */
    LIMA_EVT_ERROR              = 0x3F   /* General system logic error          */

} lima_event_type_t;


/* ── Sensor payload variants ─────────────────────────────────────────────── */

typedef struct {
    float   delta_pa;        /* Pressure delta from baseline (Pascals) */
    float   abs_hpa;         /* Absolute reading (hPa)                 */
} lima_baro_data_t;

typedef struct {
    float   accel_g;         /* Peak acceleration magnitude (g)        */
    float   gyro_dps;        /* Peak gyro magnitude (deg/s)            */
} lima_imu_data_t;

typedef struct {
    uint8_t fault_code;      /* Hardware fault identifier              */
    uint8_t retry_count;     /* How many recovery attempts so far      */
} lima_fault_data_t;

typedef struct {
    uint16_t mv;             /* Battery voltage in millivolts          */
} lima_battery_data_t;

/* ── Master event struct ─────────────────────────────────────────────────── */

typedef struct {
    lima_event_type_t   type;
    uint32_t            timestamp_ms;   /* k_uptime_get_32() at event creation */
    uint8_t             node_id[6];     /* BLE MAC address of this node        */

    union {
        lima_baro_data_t    baro;
        lima_imu_data_t     imu;
        lima_fault_data_t   fault;
        lima_battery_data_t battery;
    } data;
} lima_event_t;

#ifdef __cplusplus
}
#endif

#endif /* LIMA_EVENTS_H */
```

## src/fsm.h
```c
#ifndef LIMA_FSM_H
#define LIMA_FSM_H

#include <zephyr/kernel.h>
#include <stdbool.h>
#include "events.h"

#define SLEEP_INACTIVITY_MS     30000   /* 30s no event → deep sleep               */
#define TX_TIMEOUT_MS           1500     /* tune later */
#define MAX_FAULT_RETRIES       3

/* ── State Definitions ───────────────────────────────────────────────────── */
typedef enum {
    STATE_BOOT,
    STATE_CALIBRATING,
    STATE_ARMED,
    STATE_LIGHT_SLEEP,    /* System ON: CPU idle, RAM on, fast wakeup */
    STATE_DEEP_SLEEP,     /* System OFF: Lowest power, RAM off, Reset wakeup */
    STATE_EVENT_DETECTED,
    STATE_SIGNING,
    STATE_TRANSMITTING,
    STATE_COOLDOWN,
    STATE_FAULT,
    STATE_LOW_BATTERY,
    STATE_COUNT
} lima_state_t;

/* ── FSM Context ─────────────────────────────────────────────────────────── */
/* Holds all mutable FSM state. Defined in fsm.c, declared extern here. */
typedef struct {
    lima_event_t    last_event;         /* Latched trigger event */
    uint32_t        armed_since_ms;     /* k_uptime when we entered ARMED */
    uint32_t        cooldown_ms;        /* Configurable cooldown duration */
    uint8_t         fault_retries;      /* Retry counter for FAULT recovery */
} lima_fsm_ctx_t;


/* ── FSM Logic API ───────────────────────────────────────────────────────── */

void fsm_init(void);
void fsm_dispatch(const lima_event_t *evt); 
lima_state_t fsm_get_state(void);
const char* fsm_state_to_str(lima_state_t state);

/* ── Event Queue API (defined in main.c) ────────────────────────────────── */
/* fsm.c calls this to post events back to the queue during transitions */
int lima_post_event(const lima_event_t *evt);


/* ── Hardware Abstraction Hooks (The "Stubs" for main.c) ────────────────── */

/**
 * @brief Light Sleep (System ON). 
 * CPU stops, but peripheral state and RAM are preserved.
 */
void fsm_hw_enter_sleep(void);

/**
 * @brief Deep Sleep (System OFF). 
 * chip powers down almost entirely. Next wakeup is a reboot.
 */
void fsm_hw_enter_deep_sleep(void);

/**
 * @brief Updates physical LEDs based on the FSM state.
 */
void fsm_hw_set_led(lima_state_t state);

#endif /* LIMA_FSM_H */
```
